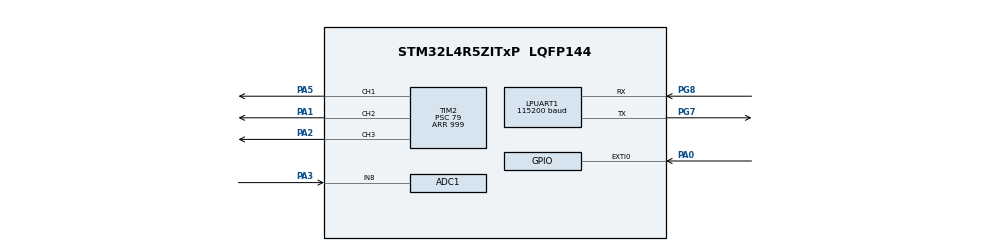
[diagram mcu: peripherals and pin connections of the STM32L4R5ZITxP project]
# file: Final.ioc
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ADC1.Channel-4\#ChannelRegularConversion=ADC_CHANNEL_8
ADC1.ContinuousConvMode=ENABLE
ADC1.DMAContinuousRequests=ENABLE
ADC1.NbrOfConversionFlag=1
ADC1.OffsetNumber-4\#ChannelRegularConversion=ADC_OFFSET_NONE
ADC1.Rank-4\#ChannelRegularConversion=1
ADC1.SamplingTime-4\#ChannelRegularConversion=ADC_SAMPLETIME_2CYCLES_5
ADC1.master=1
Dma.ADC1.0.Direction=DMA_PERIPH_TO_MEMORY
Dma.ADC1.0.EventEnable=DISABLE
Dma.ADC1.0.Instance=DMA1_Channel1
Dma.ADC1.0.MemDataAlignment=DMA_MDATAALIGN_HALFWORD
Dma.ADC1.0.MemInc=DMA_MINC_ENABLE
Dma.ADC1.0.Mode=DMA_CIRCULAR
Dma.ADC1.0.PeriphDataAlignment=DMA_PDATAALIGN_HALFWORD
Dma.ADC1.0.PeriphInc=DMA_PINC_DISABLE
Dma.ADC1.0.Polarity=HAL_DMAMUX_REQUEST_GEN_RISING
Dma.ADC1.0.Priority=DMA_PRIORITY_LOW
Dma.ADC1.0.RequestNumber=1
Dma.ADC1.0.SignalID=NONE
Dma.ADC1.0.SyncEnable=DISABLE
Dma.ADC1.0.SyncPolarity=HAL_DMAMUX_SYNC_NO_EVENT
Dma.ADC1.0.SyncRequestNumber=1
Dma.ADC1.0.SyncSignalID=NONE
Dma.Request0=ADC1
LPUART1.BaudRate=115200
LPUART1.WordLength=UART_WORDLENGTH_8B
Mcu.Family=STM32L4
Mcu.Name=STM32L4R5ZITxP
Mcu.Package=LQFP144
NVIC.DMA1_Channel1_IRQn=true\:0\:0\:false\:false\:true\:false\:true\:true
NVIC.EXTI0_IRQn=true\:0\:0\:false\:false\:true\:true\:true\:true
NVIC.PriorityGroup=NVIC_PRIORITYGROUP_4
PA0.GPIO_ModeDefaultEXTI=GPIO_MODE_IT_RISING_FALLING
PA0.GPIO_PuPd=GPIO_PULLUP
PA0.Signal=GPXTI0
PA1.Signal=S_TIM2_CH2
PA10.Signal=USB_OTG_FS_ID
PA13\ (JTMS/SWDIO).Signal=SYS_JTMS-SWDIO
PA14\ (JTCK/SWCLK).Signal=SYS_JTCK-SWCLK
PA2.Signal=S_TIM2_CH3
PA3.Signal=ADCx_IN8
PA4.Signal=SPI1_NSS
PA5.Signal=S_TIM2_CH1
PA6.Signal=ADCx_IN11
PA7.Signal=SPI1_MOSI
PA8.Signal=USB_OTG_FS_SOF
PA9.Signal=USB_OTG_FS_VBUS
PB0.Signal=S_TIM3_CH3
PB1.Signal=ADCx_IN16
PB12.Signal=SAI2_FS_A
PB13.Signal=SAI2_SCK_A
PB14.Signal=S_TIM15_CH1
PB15.Signal=SAI2_SD_A
PB2.Signal=COMP1_INP
PB3\ (JTDO/TRACESWO).Signal=SPI3_SCK
PB4\ (NJTRST).Signal=SPI3_MISO
PB5.Signal=SPI3_MOSI
PB6.Signal=COMP2_INP
PB8.Signal=I2C1_SCL
PB9.Signal=I2C1_SDA
PC0.Signal=ADCx_IN1
PC1.Signal=ADCx_IN2
PC10.Signal=SDMMC1_D2
PC11.Signal=SDMMC1_D3
PC12.Signal=SDMMC1_CK
PC13.Signal=SYS_WKUP2
PC14-OSC32_IN\ (PC14).Signal=RCC_OSC32_IN
PC15-OSC32_OUT\ (PC15).Signal=RCC_OSC32_OUT
PC2.Signal=ADCx_IN3
PC3.Signal=ADCx_IN4
PC4.Signal=ADCx_IN13
PC5.Signal=ADCx_IN14
PC6.Signal=SAI2_MCLK_A
PC7.Signal=S_TIM3_CH2
PC8.Signal=SDMMC1_D0
PC9.Signal=SDMMC1_D1
PD0.Signal=CAN1_RX
PD14.Signal=S_TIM4_CH3
PD15.Signal=S_TIM4_CH4
PD2.Signal=SDMMC1_CMD
PD3.Signal=USART2_CTS
PD4.Signal=USART2_RTS
PD5.Signal=USART2_TX
PD6.Signal=USART2_RX
PD8.Signal=USART3_TX
PD9.Signal=USART3_RX
PE0.Signal=S_TIM4_ETR
PE10.Signal=TIM1_CH2N
PE11.Signal=S_TIM1_CH2
PE12.Signal=TIM1_CH3N
PE13.Signal=S_TIM1_CH3
PE14.Signal=TIM1_BKIN2
PE15.Signal=TIM1_BKIN
PE2.Signal=SAI1_MCLK_A
PE3.Signal=SAI1_SD_B
PE7.Signal=S_TIM1_ETR
PE8.Signal=TIM1_CH1N
PE9.Signal=S_TIM1_CH1
PF0.Signal=I2C2_SDA
PF1.Signal=I2C2_SCL
PF2.Signal=I2C2_SMBA
PF7.Signal=SAI1_MCLK_B
PG7.Mode=Asynchronous
PG7.Signal=LPUART1_TX
PG8.Mode=Asynchronous
PG8.Signal=LPUART1_RX
PH0-OSC_IN\ (PH0).Signal=RCC_OSC_IN
PH1-OSC_OUT\ (PH1).Signal=RCC_OSC_OUT
ProjectManager.HeapSize=0x200
ProjectManager.StackSize=0x400
ProjectManager.TargetToolchain=STM32CubeIDE
RCC.ADCFreq_Value=32000000
RCC.HSE_VALUE=8000000
RCC.HSI48_VALUE=48000000
RCC.HSI_VALUE=16000000
RCC.LSE_VALUE=32768
RCC.MSI_VALUE=4000000
RCC.PLLSAI1N=16
RCC.USBFreq_Value=32000000
RCC.VCOOutputFreq_Value=32000000
SH.ADCx_IN1.0=ADC1_IN1
SH.ADCx_IN11.0=ADC1_IN11
SH.ADCx_IN13.0=ADC1_IN13
SH.ADCx_IN14.0=ADC1_IN14
SH.ADCx_IN16.0=ADC1_IN16
SH.ADCx_IN2.0=ADC1_IN2
SH.ADCx_IN3.0=ADC1_IN3
SH.ADCx_IN4.0=ADC1_IN4
SH.ADCx_IN8.0=ADC1_IN8,IN8-Single-Ended
SH.S_TIM15_CH1.0=TIM15_CH1
SH.S_TIM1_CH1.0=TIM1_CH1
SH.S_TIM1_CH2.0=TIM1_CH2
SH.S_TIM1_CH3.0=TIM1_CH3
SH.S_TIM1_ETR.0=TIM1_ETR
SH.S_TIM2_CH1.0=TIM2_CH1,PWM Generation1 CH1
SH.S_TIM2_CH2.0=TIM2_CH2,PWM Generation2 CH2
SH.S_TIM2_CH3.0=TIM2_CH3,PWM Generation3 CH3
SH.S_TIM3_CH2.0=TIM3_CH2
SH.S_TIM3_CH3.0=TIM3_CH3
SH.S_TIM4_CH3.0=TIM4_CH3
SH.S_TIM4_CH4.0=TIM4_CH4
SH.S_TIM4_ETR.0=TIM4_ETR
TIM2.Channel-PWM\ Generation1\ CH1=TIM_CHANNEL_1
TIM2.Channel-PWM\ Generation2\ CH2=TIM_CHANNEL_2
TIM2.Channel-PWM\ Generation3\ CH3=TIM_CHANNEL_3
TIM2.Period=999
TIM2.Prescaler=79
VP_TIM2_VS_ClockSourceINT.Mode=Internal
board=NUCLEO-L4R5ZI-P

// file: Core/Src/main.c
/* USER CODE BEGIN Header */
/**
  ******************************************************************************
  * @file           : main.c
  * @brief          : Main program body
  ******************************************************************************
  * @attention
  *
  * Copyright (c) 2025 STMicroelectronics.
  * All rights reserved.
  *
  * This software is licensed under terms that can be found in the LICENSE file
  * in the root directory of this software component.
  * If no LICENSE file comes with this software, it is provided AS-IS.
  *
  ******************************************************************************
  */
/* USER CODE END Header */
#include "main.h"

/* USER CODE BEGIN Includes */
#include <stdio.h>
/* USER CODE END Includes */

/* USER CODE BEGIN PD */

#define DEBOUNCE_MS        40
#define LONG_PRESS_MS     800
#define DOUBLE_CLICK_MS   300

/* USER CODE END PD */

ADC_HandleTypeDef hadc1;
DMA_HandleTypeDef hdma_adc1;

UART_HandleTypeDef hlpuart1;

TIM_HandleTypeDef htim2;

/* USER CODE BEGIN PV */

/* Button handling variables */
volatile uint8_t exti_flag = 0;
volatile uint8_t exti_level = 1;
volatile uint32_t exti_time = 0;
uint8_t button_state = 1;
uint32_t last_change_time = 0;
uint8_t btn_pressed = 0;
uint32_t press_start = 0;
uint8_t click_count = 0;
uint32_t last_release_time = 0;

/* ADC value */
uint32_t adc_val = 0;

/* USER CODE END PV */

void SystemClock_Config(void);
static void MX_GPIO_Init(void);
static void MX_DMA_Init(void);
static void MX_LPUART1_UART_Init(void);
static void MX_TIM2_Init(void);
static void MX_ADC1_Init(void);

/* USER CODE BEGIN 0 */

int __io_putchar(int ch)
{
    HAL_UART_Transmit(&hlpuart1, (uint8_t *)&ch, 1, 10);
    return ch;
}

void HAL_GPIO_EXTI_Callback(uint16_t GPIO_Pin)
{
    if (GPIO_Pin != GPIO_PIN_0) return;

    exti_flag = 1;
    exti_level = HAL_GPIO_ReadPin(GPIOA, GPIO_PIN_0);
    exti_time = HAL_GetTick();
}

/* USER CODE END 0 */

int main(void)
{

  /* MCU Configuration--------------------------------------------------------*/

  /* Reset of all peripherals, Initializes the Flash interface and the Systick. */
  HAL_Init();

  /* Configure the system clock */
  SystemClock_Config();

  /* Initialize all configured peripherals */
  MX_GPIO_Init();
  MX_DMA_Init();
  MX_LPUART1_UART_Init();
  MX_TIM2_Init();
  MX_ADC1_Init();
  /* USER CODE BEGIN 2 */

  HAL_ADC_Start_DMA(&hadc1, &adc_val, 1);
  HAL_TIM_PWM_Start(&htim2, TIM_CHANNEL_1);
  HAL_TIM_PWM_Start(&htim2, TIM_CHANNEL_2);
  HAL_TIM_PWM_Start(&htim2, TIM_CHANNEL_3);

  /* USER CODE END 2 */

  /* Infinite loop */
  /* USER CODE BEGIN WHILE */
  while (1)
  {

	  uint32_t arr = __HAL_TIM_GET_AUTORELOAD(&htim2);

	          /* Map ADC value (0–4095) to PWM duty cycle */
	          uint32_t duty = (adc_val * arr) / 4095;

	          /* Update PWM outputs */
	          __HAL_TIM_SET_COMPARE(&htim2, TIM_CHANNEL_1, duty);
	          __HAL_TIM_SET_COMPARE(&htim2, TIM_CHANNEL_2, duty);
	          __HAL_TIM_SET_COMPARE(&htim2, TIM_CHANNEL_3, duty);

	          /* Button handling with debounce, long press, double click */
	          uint32_t now = HAL_GetTick();
	          if (exti_flag)
	          {
	              exti_flag = 0;

	              if (now - last_change_time >= DEBOUNCE_MS)
	              {
	                  last_change_time = now;

	                  if (exti_level == GPIO_PIN_SET && button_state == 1)
	                  {
	                      button_state = 0;
	                      btn_pressed = 1;
	                      press_start = now;
	                  }
	                  else if (exti_level == GPIO_PIN_RESET && button_state == 0)
	                  {
	                      button_state = 1;
	                      btn_pressed = 0;

	                      uint32_t press_duration = now - press_start;

	                      if (press_duration >= LONG_PRESS_MS)
	                      {
	                          printf("Long Press\r\n");
	                          click_count = 0;
	                      }
	                      else
	                      {
	                          click_count++;
	                          last_release_time = now;
	                      }
	                  }
	              }
	          }

	          /* Detect single or double click */
	          if (click_count > 0 && (now - last_release_time > DOUBLE_CLICK_MS))
	          {
	              if (click_count == 1)
	                  printf("Single Click\r\n");
	              else
	                  printf("Double Click\r\n");

	              click_count = 0;
	          }
	      }
	  }

    /* USER CODE END WHILE */

void SystemClock_Config(void)
{
  RCC_OscInitTypeDef RCC_OscInitStruct = {0};
  RCC_ClkInitTypeDef RCC_ClkInitStruct = {0};

  /** Configure the main internal regulator output voltage
  */
  if (HAL_PWREx_ControlVoltageScaling(PWR_REGULATOR_VOLTAGE_SCALE1) != HAL_OK)
  {
    Error_Handler();
  }

  /** Initializes the RCC Oscillators according to the specified parameters
  * in the RCC_OscInitTypeDef structure.
  */
  RCC_OscInitStruct.OscillatorType = RCC_OSCILLATORTYPE_MSI;
  RCC_OscInitStruct.MSIState = RCC_MSI_ON;
  RCC_OscInitStruct.MSICalibrationValue = 0;
  RCC_OscInitStruct.MSIClockRange = RCC_MSIRANGE_6;
  RCC_OscInitStruct.PLL.PLLState = RCC_PLL_NONE;
  if (HAL_RCC_OscConfig(&RCC_OscInitStruct) != HAL_OK)
  {
    Error_Handler();
  }

  /** Initializes the CPU, AHB and APB buses clocks
  */
  RCC_ClkInitStruct.ClockType = RCC_CLOCKTYPE_HCLK|RCC_CLOCKTYPE_SYSCLK
                              |RCC_CLOCKTYPE_PCLK1|RCC_CLOCKTYPE_PCLK2;
  RCC_ClkInitStruct.SYSCLKSource = RCC_SYSCLKSOURCE_MSI;
  RCC_ClkInitStruct.AHBCLKDivider = RCC_SYSCLK_DIV1;
  RCC_ClkInitStruct.APB1CLKDivider = RCC_HCLK_DIV1;
  RCC_ClkInitStruct.APB2CLKDivider = RCC_HCLK_DIV1;

  if (HAL_RCC_ClockConfig(&RCC_ClkInitStruct, FLASH_LATENCY_0) != HAL_OK)
  {
    Error_Handler();
  }
}

static void MX_ADC1_Init(void)
{

  ADC_ChannelConfTypeDef sConfig = {0};

  /** Common config
  */
  hadc1.Instance = ADC1;
  hadc1.Init.ClockPrescaler = ADC_CLOCK_ASYNC_DIV1;
  hadc1.Init.Resolution = ADC_RESOLUTION_12B;
  hadc1.Init.DataAlign = ADC_DATAALIGN_RIGHT;
  hadc1.Init.ScanConvMode = ADC_SCAN_DISABLE;
  hadc1.Init.EOCSelection = ADC_EOC_SINGLE_CONV;
  hadc1.Init.LowPowerAutoWait = DISABLE;
  hadc1.Init.ContinuousConvMode = ENABLE;
  hadc1.Init.NbrOfConversion = 1;
  hadc1.Init.DiscontinuousConvMode = DISABLE;
  hadc1.Init.ExternalTrigConv = ADC_SOFTWARE_START;
  hadc1.Init.ExternalTrigConvEdge = ADC_EXTERNALTRIGCONVEDGE_NONE;
  hadc1.Init.DMAContinuousRequests = ENABLE;
  hadc1.Init.Overrun = ADC_OVR_DATA_PRESERVED;
  hadc1.Init.OversamplingMode = DISABLE;
  if (HAL_ADC_Init(&hadc1) != HAL_OK)
  {
    Error_Handler();
  }

  /** Configure Regular Channel
  */
  sConfig.Channel = ADC_CHANNEL_8;
  sConfig.Rank = ADC_REGULAR_RANK_1;
  sConfig.SamplingTime = ADC_SAMPLETIME_2CYCLES_5;
  sConfig.SingleDiff = ADC_SINGLE_ENDED;
  sConfig.OffsetNumber = ADC_OFFSET_NONE;
  sConfig.Offset = 0;
  if (HAL_ADC_ConfigChannel(&hadc1, &sConfig) != HAL_OK)
  {
    Error_Handler();
  }

}

static void MX_LPUART1_UART_Init(void)
{

  hlpuart1.Instance = LPUART1;
  hlpuart1.Init.BaudRate = 115200;
  hlpuart1.Init.WordLength = UART_WORDLENGTH_8B;
  hlpuart1.Init.StopBits = UART_STOPBITS_1;
  hlpuart1.Init.Parity = UART_PARITY_NONE;
  hlpuart1.Init.Mode = UART_MODE_TX_RX;
  hlpuart1.Init.HwFlowCtl = UART_HWCONTROL_NONE;
  hlpuart1.Init.OneBitSampling = UART_ONE_BIT_SAMPLE_DISABLE;
  hlpuart1.Init.ClockPrescaler = UART_PRESCALER_DIV1;
  hlpuart1.AdvancedInit.AdvFeatureInit = UART_ADVFEATURE_NO_INIT;
  hlpuart1.FifoMode = UART_FIFOMODE_DISABLE;
  if (HAL_UART_Init(&hlpuart1) != HAL_OK)
  {
    Error_Handler();
  }
  if (HAL_UARTEx_SetTxFifoThreshold(&hlpuart1, UART_TXFIFO_THRESHOLD_1_8) != HAL_OK)
  {
    Error_Handler();
  }
  if (HAL_UARTEx_SetRxFifoThreshold(&hlpuart1, UART_RXFIFO_THRESHOLD_1_8) != HAL_OK)
  {
    Error_Handler();
  }
  if (HAL_UARTEx_DisableFifoMode(&hlpuart1) != HAL_OK)
  {
    Error_Handler();
  }

}

static void MX_TIM2_Init(void)
{

  TIM_ClockConfigTypeDef sClockSourceConfig = {0};
  TIM_MasterConfigTypeDef sMasterConfig = {0};
  TIM_OC_InitTypeDef sConfigOC = {0};

  htim2.Instance = TIM2;
  htim2.Init.Prescaler = 79;
  htim2.Init.CounterMode = TIM_COUNTERMODE_UP;
  htim2.Init.Period = 999;
  htim2.Init.ClockDivision = TIM_CLOCKDIVISION_DIV1;
  htim2.Init.AutoReloadPreload = TIM_AUTORELOAD_PRELOAD_DISABLE;
  if (HAL_TIM_Base_Init(&htim2) != HAL_OK)
  {
    Error_Handler();
  }
  sClockSourceConfig.ClockSource = TIM_CLOCKSOURCE_INTERNAL;
  if (HAL_TIM_ConfigClockSource(&htim2, &sClockSourceConfig) != HAL_OK)
  {
    Error_Handler();
  }
  if (HAL_TIM_PWM_Init(&htim2) != HAL_OK)
  {
    Error_Handler();
  }
  sMasterConfig.MasterOutputTrigger = TIM_TRGO_RESET;
  sMasterConfig.MasterSlaveMode = TIM_MASTERSLAVEMODE_DISABLE;
  if (HAL_TIMEx_MasterConfigSynchronization(&htim2, &sMasterConfig) != HAL_OK)
  {
    Error_Handler();
  }
  sConfigOC.OCMode = TIM_OCMODE_PWM1;
  sConfigOC.Pulse = 0;
  sConfigOC.OCPolarity = TIM_OCPOLARITY_HIGH;
  sConfigOC.OCFastMode = TIM_OCFAST_DISABLE;
  if (HAL_TIM_PWM_ConfigChannel(&htim2, &sConfigOC, TIM_CHANNEL_1) != HAL_OK)
  {
    Error_Handler();
  }
  if (HAL_TIM_PWM_ConfigChannel(&htim2, &sConfigOC, TIM_CHANNEL_2) != HAL_OK)
  {
    Error_Handler();
  }
  if (HAL_TIM_PWM_ConfigChannel(&htim2, &sConfigOC, TIM_CHANNEL_3) != HAL_OK)
  {
    Error_Handler();
  }
  HAL_TIM_MspPostInit(&htim2);

}

static void MX_DMA_Init(void)
{

  /* DMA controller clock enable */
  __HAL_RCC_DMAMUX1_CLK_ENABLE();
  __HAL_RCC_DMA1_CLK_ENABLE();

  /* DMA interrupt init */
  /* DMA1_Channel1_IRQn interrupt configuration */
  HAL_NVIC_SetPriority(DMA1_Channel1_IRQn, 0, 0);
  HAL_NVIC_EnableIRQ(DMA1_Channel1_IRQn);

}

static void MX_GPIO_Init(void)
{
  GPIO_InitTypeDef GPIO_InitStruct = {0};

  /* GPIO Ports Clock Enable */
  __HAL_RCC_GPIOE_CLK_ENABLE();
  __HAL_RCC_GPIOC_CLK_ENABLE();
  __HAL_RCC_GPIOF_CLK_ENABLE();
  __HAL_RCC_GPIOH_CLK_ENABLE();
  __HAL_RCC_GPIOA_CLK_ENABLE();
  __HAL_RCC_GPIOB_CLK_ENABLE();
  __HAL_RCC_GPIOD_CLK_ENABLE();
  __HAL_RCC_GPIOG_CLK_ENABLE();
  HAL_PWREx_EnableVddIO2();

  /*Configure GPIO pins : PE2 PE3 */
  GPIO_InitStruct.Pin = GPIO_PIN_2|GPIO_PIN_3;
  GPIO_InitStruct.Mode = GPIO_MODE_AF_PP;
  GPIO_InitStruct.Pull = GPIO_NOPULL;
  GPIO_InitStruct.Speed = GPIO_SPEED_FREQ_LOW;
  GPIO_InitStruct.Alternate = GPIO_AF13_SAI1;
  HAL_GPIO_Init(GPIOE, &GPIO_InitStruct);

  /*Configure GPIO pins : PF0 PF1 PF2 */
  GPIO_InitStruct.Pin = GPIO_PIN_0|GPIO_PIN_1|GPIO_PIN_2;
  GPIO_InitStruct.Mode = GPIO_MODE_AF_OD;
  GPIO_InitStruct.Pull = GPIO_NOPULL;
  GPIO_InitStruct.Speed = GPIO_SPEED_FREQ_VERY_HIGH;
  GPIO_InitStruct.Alternate = GPIO_AF4_I2C2;
  HAL_GPIO_Init(GPIOF, &GPIO_InitStruct);

  /*Configure GPIO pin : PF7 */
  GPIO_InitStruct.Pin = GPIO_PIN_7;
  GPIO_InitStruct.Mode = GPIO_MODE_AF_PP;
  GPIO_InitStruct.Pull = GPIO_NOPULL;
  GPIO_InitStruct.Speed = GPIO_SPEED_FREQ_LOW;
  GPIO_InitStruct.Alternate = GPIO_AF13_SAI1;
  HAL_GPIO_Init(GPIOF, &GPIO_InitStruct);

  /*Configure GPIO pin : PA0 */
  GPIO_InitStruct.Pin = GPIO_PIN_0;
  GPIO_InitStruct.Mode = GPIO_MODE_IT_RISING_FALLING;
  GPIO_InitStruct.Pull = GPIO_PULLUP;
  HAL_GPIO_Init(GPIOA, &GPIO_InitStruct);

  /*Configure GPIO pins : PA4 PA7 */
  GPIO_InitStruct.Pin = GPIO_PIN_4|GPIO_PIN_7;
  GPIO_InitStruct.Mode = GPIO_MODE_AF_PP;
  GPIO_InitStruct.Pull = GPIO_NOPULL;
  GPIO_InitStruct.Speed = GPIO_SPEED_FREQ_VERY_HIGH;
  GPIO_InitStruct.Alternate = GPIO_AF5_SPI1;
  HAL_GPIO_Init(GPIOA, &GPIO_InitStruct);

  /*Configure GPIO pin : PB0 */
  GPIO_InitStruct.Pin = GPIO_PIN_0;
  GPIO_InitStruct.Mode = GPIO_MODE_AF_PP;
  GPIO_InitStruct.Pull = GPIO_NOPULL;
  GPIO_InitStruct.Speed = GPIO_SPEED_FREQ_LOW;
  GPIO_InitStruct.Alternate = GPIO_AF2_TIM3;
  HAL_GPIO_Init(GPIOB, &GPIO_InitStruct);

  /*Configure GPIO pins : PB2 PB6 */
  GPIO_InitStruct.Pin = GPIO_PIN_2|GPIO_PIN_6;
  GPIO_InitStruct.Mode = GPIO_MODE_ANALOG;
  GPIO_InitStruct.Pull = GPIO_NOPULL;
  HAL_GPIO_Init(GPIOB, &GPIO_InitStruct);

  /*Configure GPIO pins : PE7 PE8 PE9 PE10
                           PE11 PE12 PE13 */
  GPIO_InitStruct.Pin = GPIO_PIN_7|GPIO_PIN_8|GPIO_PIN_9|GPIO_PIN_10
                          |GPIO_PIN_11|GPIO_PIN_12|GPIO_PIN_13;
  GPIO_InitStruct.Mode = GPIO_MODE_AF_PP;
  GPIO_InitStruct.Pull = GPIO_NOPULL;
  GPIO_InitStruct.Speed = GPIO_SPEED_FREQ_LOW;
  GPIO_InitStruct.Alternate = GPIO_AF1_TIM1;
  HAL_GPIO_Init(GPIOE, &GPIO_InitStruct);

  /*Configure GPIO pins : PE14 PE15 */
  GPIO_InitStruct.Pin = GPIO_PIN_14|GPIO_PIN_15;
  GPIO_InitStruct.Mode = GPIO_MODE_AF_PP;
  GPIO_InitStruct.Pull = GPIO_NOPULL;
  GPIO_InitStruct.Speed = GPIO_SPEED_FREQ_LOW;
  GPIO_InitStruct.Alternate = GPIO_AF3_TIM1_COMP1;
  HAL_GPIO_Init(GPIOE, &GPIO_InitStruct);

  /*Configure GPIO pins : PB12 PB13 PB15 */
  GPIO_InitStruct.Pin = GPIO_PIN_12|GPIO_PIN_13|GPIO_PIN_15;
  GPIO_InitStruct.Mode = GPIO_MODE_AF_PP;
  GPIO_InitStruct.Pull = GPIO_NOPULL;
  GPIO_InitStruct.Speed = GPIO_SPEED_FREQ_LOW;
  GPIO_InitStruct.Alternate = GPIO_AF13_SAI2;
  HAL_GPIO_Init(GPIOB, &GPIO_InitStruct);

  /*Configure GPIO pin : PB14 */
  GPIO_InitStruct.Pin = GPIO_PIN_14;
  GPIO_InitStruct.Mode = GPIO_MODE_AF_PP;
  GPIO_InitStruct.Pull = GPIO_NOPULL;
  GPIO_InitStruct.Speed = GPIO_SPEED_FREQ_LOW;
  GPIO_InitStruct.Alternate = GPIO_AF14_TIM15;
  HAL_GPIO_Init(GPIOB, &GPIO_InitStruct);

  /*Configure GPIO pins : PD8 PD9 */
  GPIO_InitStruct.Pin = GPIO_PIN_8|GPIO_PIN_9;
  GPIO_InitStruct.Mode = GPIO_MODE_AF_PP;
  GPIO_InitStruct.Pull = GPIO_NOPULL;
  GPIO_InitStruct.Speed = GPIO_SPEED_FREQ_VERY_HIGH;
  GPIO_InitStruct.Alternate = GPIO_AF7_USART3;
  HAL_GPIO_Init(GPIOD, &GPIO_InitStruct);

  /*Configure GPIO pins : PD14 PD15 */
  GPIO_InitStruct.Pin = GPIO_PIN_14|GPIO_PIN_15;
  GPIO_InitStruct.Mode = GPIO_MODE_AF_PP;
  GPIO_InitStruct.Pull = GPIO_NOPULL;
  GPIO_InitStruct.Speed = GPIO_SPEED_FREQ_LOW;
  GPIO_InitStruct.Alternate = GPIO_AF2_TIM4;
  HAL_GPIO_Init(GPIOD, &GPIO_InitStruct);

  /*Configure GPIO pin : PC6 */
  GPIO_InitStruct.Pin = GPIO_PIN_6;
  GPIO_InitStruct.Mode = GPIO_MODE_AF_PP;
  GPIO_InitStruct.Pull = GPIO_NOPULL;
  GPIO_InitStruct.Speed = GPIO_SPEED_FREQ_LOW;
  GPIO_InitStruct.Alternate = GPIO_AF13_SAI2;
  HAL_GPIO_Init(GPIOC, &GPIO_InitStruct);

  /*Configure GPIO pin : PC7 */
  GPIO_InitStruct.Pin = GPIO_PIN_7;
  GPIO_InitStruct.Mode = GPIO_MODE_AF_PP;
  GPIO_InitStruct.Pull = GPIO_NOPULL;
  GPIO_InitStruct.Speed = GPIO_SPEED_FREQ_LOW;
  GPIO_InitStruct.Alternate = GPIO_AF2_TIM3;
  HAL_GPIO_Init(GPIOC, &GPIO_InitStruct);

  /*Configure GPIO pins : PC8 PC9 PC10 PC11
                           PC12 */
  GPIO_InitStruct.Pin = GPIO_PIN_8|GPIO_PIN_9|GPIO_PIN_10|GPIO_PIN_11
                          |GPIO_PIN_12;
  GPIO_InitStruct.Mode = GPIO_MODE_AF_PP;
  GPIO_InitStruct.Pull = GPIO_NOPULL;
  GPIO_InitStruct.Speed = GPIO_SPEED_FREQ_VERY_HIGH;
  GPIO_InitStruct.Alternate = GPIO_AF12_SDMMC1;
  HAL_GPIO_Init(GPIOC, &GPIO_InitStruct);

  /*Configure GPIO pins : PA8 PA10 */
  GPIO_InitStruct.Pin = GPIO_PIN_8|GPIO_PIN_10;
  GPIO_InitStruct.Mode = GPIO_MODE_AF_PP;
  GPIO_InitStruct.Pull = GPIO_NOPULL;
  GPIO_InitStruct.Speed = GPIO_SPEED_FREQ_VERY_HIGH;
  GPIO_InitStruct.Alternate = GPIO_AF10_OTG_FS;
  HAL_GPIO_Init(GPIOA, &GPIO_InitStruct);

  /*Configure GPIO pin : PA9 */
  GPIO_InitStruct.Pin = GPIO_PIN_9;
  GPIO_InitStruct.Mode = GPIO_MODE_INPUT;
  GPIO_InitStruct.Pull = GPIO_NOPULL;
  HAL_GPIO_Init(GPIOA, &GPIO_InitStruct);

  /*Configure GPIO pin : PD0 */
  GPIO_InitStruct.Pin = GPIO_PIN_0;
  GPIO_InitStruct.Mode = GPIO_MODE_AF_PP;
  GPIO_InitStruct.Pull = GPIO_NOPULL;
  GPIO_InitStruct.Speed = GPIO_SPEED_FREQ_VERY_HIGH;
  GPIO_InitStruct.Alternate = GPIO_AF9_CAN1;
  HAL_GPIO_Init(GPIOD, &GPIO_InitStruct);

  /*Configure GPIO pin : PD2 */
  GPIO_InitStruct.Pin = GPIO_PIN_2;
  GPIO_InitStruct.Mode = GPIO_MODE_AF_PP;
  GPIO_InitStruct.Pull = GPIO_NOPULL;
  GPIO_InitStruct.Speed = GPIO_SPEED_FREQ_VERY_HIGH;
  GPIO_InitStruct.Alternate = GPIO_AF12_SDMMC1;
  HAL_GPIO_Init(GPIOD, &GPIO_InitStruct);

  /*Configure GPIO pins : PD3 PD4 PD5 PD6 */
  GPIO_InitStruct.Pin = GPIO_PIN_3|GPIO_PIN_4|GPIO_PIN_5|GPIO_PIN_6;
  GPIO_InitStruct.Mode = GPIO_MODE_AF_PP;
  GPIO_InitStruct.Pull = GPIO_NOPULL;
  GPIO_InitStruct.Speed = GPIO_SPEED_FREQ_VERY_HIGH;
  GPIO_InitStruct.Alternate = GPIO_AF7_USART2;
  HAL_GPIO_Init(GPIOD, &GPIO_InitStruct);

  /*Configure GPIO pins : PB3 PB4 PB5 */
  GPIO_InitStruct.Pin = GPIO_PIN_3|GPIO_PIN_4|GPIO_PIN_5;
  GPIO_InitStruct.Mode = GPIO_MODE_AF_PP;
  GPIO_InitStruct.Pull = GPIO_NOPULL;
  GPIO_InitStruct.Speed = GPIO_SPEED_FREQ_VERY_HIGH;
  GPIO_InitStruct.Alternate = GPIO_AF6_SPI3;
  HAL_GPIO_Init(GPIOB, &GPIO_InitStruct);

  /*Configure GPIO pins : PB8 PB9 */
  GPIO_InitStruct.Pin = GPIO_PIN_8|GPIO_PIN_9;
  GPIO_InitStruct.Mode = GPIO_MODE_AF_OD;
  GPIO_InitStruct.Pull = GPIO_NOPULL;
  GPIO_InitStruct.Speed = GPIO_SPEED_FREQ_VERY_HIGH;
  GPIO_InitStruct.Alternate = GPIO_AF4_I2C1;
  HAL_GPIO_Init(GPIOB, &GPIO_InitStruct);

  /*Configure GPIO pin : PE0 */
  GPIO_InitStruct.Pin = GPIO_PIN_0;
  GPIO_InitStruct.Mode = GPIO_MODE_AF_PP;
  GPIO_InitStruct.Pull = GPIO_NOPULL;
  GPIO_InitStruct.Speed = GPIO_SPEED_FREQ_LOW;
  GPIO_InitStruct.Alternate = GPIO_AF2_TIM4;
  HAL_GPIO_Init(GPIOE, &GPIO_InitStruct);

  /* EXTI interrupt init*/
  HAL_NVIC_SetPriority(EXTI0_IRQn, 0, 0);
  HAL_NVIC_EnableIRQ(EXTI0_IRQn);

}

void Error_Handler(void)
{
  __disable_irq();
  while (1)
  {
  }
}
